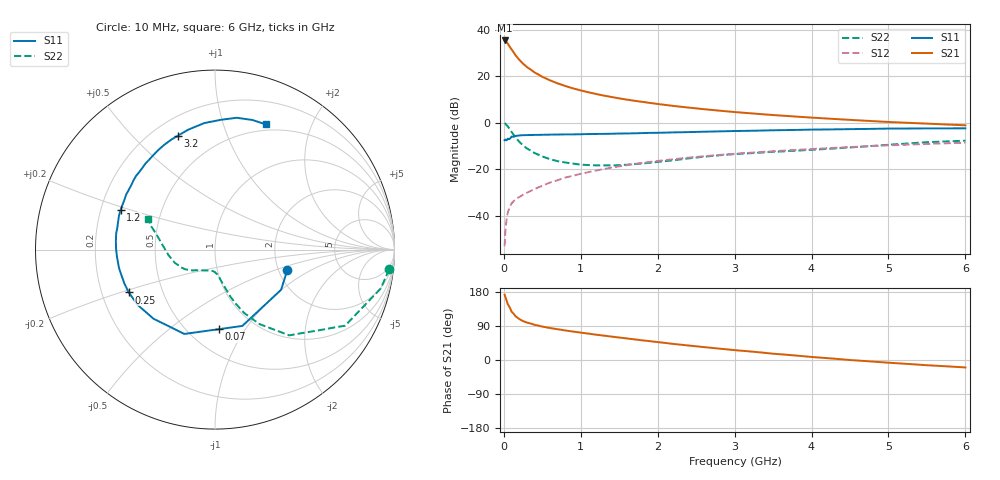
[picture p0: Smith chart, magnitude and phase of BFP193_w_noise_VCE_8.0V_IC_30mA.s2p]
! Infineon Technologies  Discrete & RF Semiconductors
! BFP193
! VCE =  8.0 V,  IC =  30 mA
! Common Emitter S-Parameters:  Jan 2017
# GHz  S  MA  R  50
!  f  S11  S21  S12  S22
! GHz  MAG  ANG  MAG  ANG  MAG  ANG  MAG  ANG
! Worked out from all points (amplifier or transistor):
!   77 points, 10 MHz to 6 GHz, reference 50 ohm
!   highest |S21| = 35.3 dB at 10 MHz (marker M1)
!   |S21| within 3 dB of that: start of sweep to 82.53 MHz
!   unconditionally stable (mu >= 1): 817.4 MHz to 2.433 GHz
!   at 130 MHz: K = 0.46, MSG = 31.9 dB, |S12| = -33.7 dB
!   at 2.2 GHz: K = 1.01, MAG = 10.8 dB, |S12| = -15.8 dB
!   at 6 GHz: K = 0.91, MSG = 3.7 dB, |S12| = -8.6 dB
!   lowest NFmin = 1.22 dB at 450 MHz
!   S11 on the Smith chart (normalised r, x): 10 MHz: 2.24, -0.61; 70 MHz: 0.70, -0.77; 250 MHz: 0.32, -0.21; 1.2 GHz: 0.28, +0.19; 3.2 GHz: 0.30, +0.68; 6 GHz: 0.43, +1.39
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0.01  0.4187 -15.6  58.5 172.4  0.0022 77.9  0.9763 -6.5
0.02  0.431 -31.3  57.77 165.9  0.0045 78.1  0.9487 -13.2
0.05  0.4518 -70.3  50.3 147.8  0.0115 67.3  0.84 -30.3
0.07  0.4437 -87.0  44.6 141.1  0.0142 63.4  0.7478 -36.6
0.1  0.5 -110.0  37.59 127.7  0.0183 59.7  0.6321 -49.1
0.15  0.5155 -131.7  28.42 115.8  0.0222 54.8  0.483 -59.2
0.2  0.5298 -144.4  22.53 108.2  0.025 54.9  0.3886 -65.3
0.25  0.5365 -153.6  18.52 102.6  0.0281 55.5  0.3243 -68.9
0.3  0.5393 -159.7  15.66 98.8  0.0309 57.1  0.2784 -71.7
0.4  0.5444 -168.8  12.01 92.7  0.0372 59.8  0.2209 -75.1
0.5  0.5475 -175.5  9.666 88.2  0.0438 61.8  0.1868 -78.0
0.7  0.5542 175.0  6.978 81.2  0.0577 64.0  0.1481 -82.3
0.9  0.5579 167.0  5.448 75.0  0.0721 63.8  0.1315 -87.6
1.1  0.5676 160.3  4.49 69.6  0.0863 63.2  0.1224 -93.3
1.2  0.5704 157.0  4.122 66.8  0.0932 62.6  0.1203 -96.4
1.6  0.5845 145.3  3.122 56.8  0.1218 59.4  0.1242 -110.7
2.1  0.6093 131.6  2.402 45.0  0.1564 54.4  0.1484 -128.9
3.1  0.6631 109.8  1.638 24.3  0.2195 42.7  0.2148 -153.5
3.2  0.6674 108.0  1.59 22.6  0.2251 41.6  0.2195 -155.7
4.1  0.7099 93.3  1.253 6.5  0.2759 31.5  0.2658 -175.6
5.1  0.7449 79.3  1.015 -8.4  0.3285 20.3  0.3425 164.6
6  0.753 68.0  0.875 -19.6  0.3702 10.3  0.4089 155.0
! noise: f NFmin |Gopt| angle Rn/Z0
0.45  1.22  0.33  -174  0.08
0.9  1.27  0.38  -173  0.07
1.9  1.89  0.57  -137  0.17
2.4  2.22  0.62  -121  0.38
